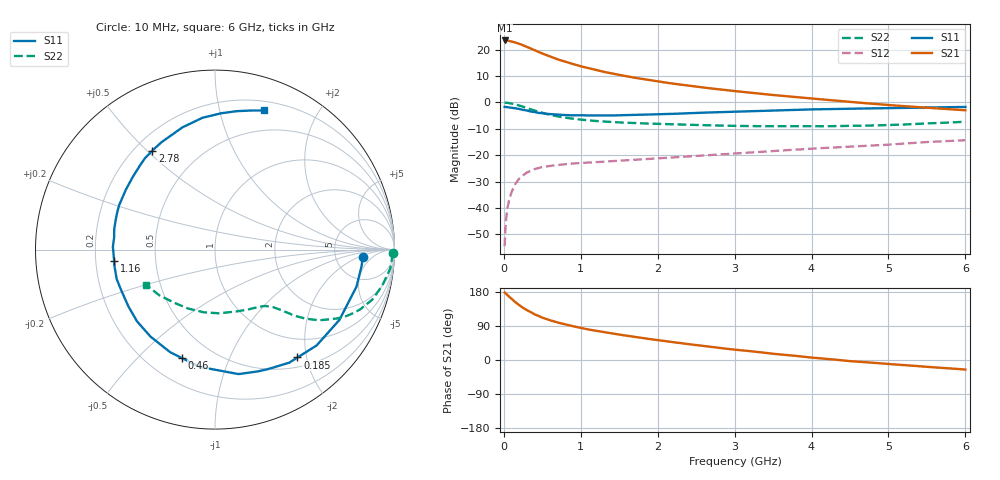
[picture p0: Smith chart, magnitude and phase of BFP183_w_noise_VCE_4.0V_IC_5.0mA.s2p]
! Infineon Technologies  Discrete & RF Semiconductors
! BFP183
! VCE = 4.0 V,  IC =  5.0 mA
! Common Emitter S-Parameters:  Jan 2016
# GHz  S  MA  R  50
!  f  S11  S21  S12  S22
! GHz  MAG  ANG  MAG  ANG  MAG  ANG  MAG  ANG
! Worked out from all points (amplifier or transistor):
!   210 points, 10 MHz to 6 GHz, reference 50 ohm
!   highest |S21| = 23.5 dB at 10 MHz (marker M1)
!   |S21| within 3 dB of that: start of sweep to 345.7 MHz
!   unconditionally stable (mu >= 1): 1.577 GHz to 5.683 GHz
!   at 185 MHz: K = 0.16, MSG = 25.9 dB, |S12| = -29.4 dB
!   at 1.52 GHz: K = 0.98, MSG = 16.2 dB, |S12| = -22.1 dB
!   at 6 GHz: K = 0.94, MSG = 5.7 dB, |S12| = -14.3 dB
!   lowest NFmin = 1.15 dB at 450 MHz
!   S11 on the Smith chart (normalised r, x): 10 MHz: 9.65, -2.59; 185 MHz: 0.65, -1.84; 460 MHz: 0.34, -0.68; 1.16 GHz: 0.28, -0.05; 2.78 GHz: 0.27, +0.52; 6 GHz: 0.29, +1.37
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0.01  0.8238 -3.0  14.9 178.2  0.0019 85.1  0.9932 -1.2
0.04  0.8153 -11.9  14.79 172.5  0.0084 84.1  0.9837 -5.0
0.1  0.7962 -29.5  14.28 161.3  0.0199 75.0  0.9532 -12.2
0.15  0.7783 -43.3  13.63 152.6  0.0288 67.8  0.9192 -17.7
0.185  0.7567 -52.6  13.12 147.1  0.0339 63.4  0.8882 -20.9
0.24  0.7282 -66.2  12.23 138.9  0.0407 57.8  0.8372 -25.5
0.3  0.7058 -79.3  11.31 131.5  0.0471 52.6  0.7797 -29.5
0.4  0.6588 -97.6  9.746 120.4  0.0547 45.8  0.7008 -34.2
0.46  0.6316 -107.1  8.926 115.5  0.0577 42.4  0.6608 -36.0
0.5  0.6236 -113.7  8.422 111.7  0.0598 40.3  0.6345 -37.3
0.6  0.6033 -126.6  7.448 104.8  0.0631 37.2  0.5822 -39.5
0.7  0.5903 -137.4  6.533 98.9  0.0654 34.8  0.5428 -40.8
0.8  0.5772 -146.6  5.885 93.6  0.0676 32.9  0.5137 -41.9
1.02  0.5703 -164.7  4.757 83.8  0.0717 30.9  0.4694 -43.9
1.16  0.5653 -173.8  4.238 78.5  0.0737 30.0  0.4498 -45.2
1.52  0.5734 167.6  3.282 66.3  0.0787 30.4  0.417 -48.9
2.02  0.5982 146.2  2.473 51.9  0.0875 30.7  0.3919 -55.8
2.78  0.6528 122.3  1.782 32.4  0.1031 31.4  0.3659 -70.1
3.1  0.6737 114.0  1.586 25.4  0.1103 31.1  0.3579 -77.2
4.1  0.7413 93.7  1.153 4.7  0.1357 28.5  0.3543 -103.1
5.1  0.7842 79.9  0.871 -11.9  0.1625 25.0  0.3771 -130.2
6  0.8218 70.6  0.711 -25.2  0.1926 18.0  0.4307 -152.6
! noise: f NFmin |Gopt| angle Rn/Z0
0.45  1.15  0.25  40  0.26
0.9  1.2  0.25  93  0.22
1.8  1.95  0.32  170  0.13
